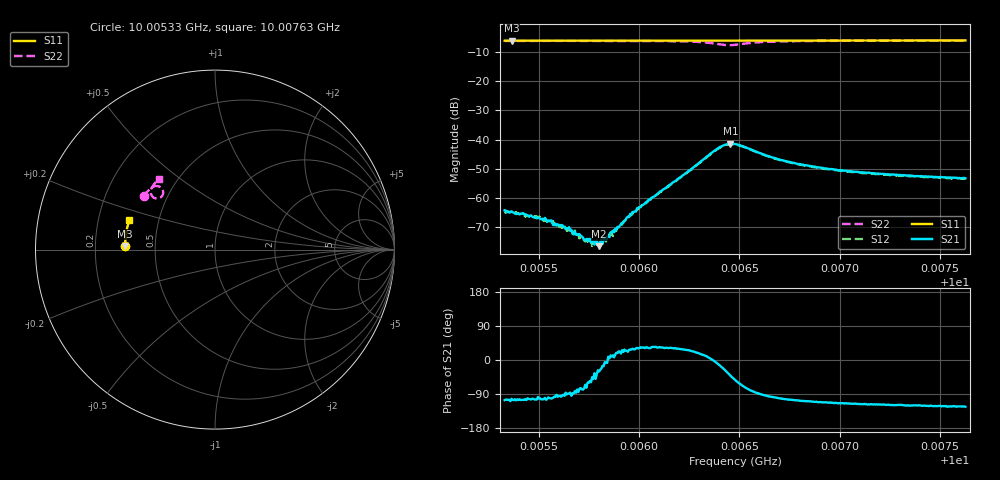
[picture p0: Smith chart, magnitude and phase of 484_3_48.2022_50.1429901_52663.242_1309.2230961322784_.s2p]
#  HZ  S  RI  R  50.00
! Rohde & Schwarz Vector Network Analyzer
! Rohde-Schwarz,ZNB20-2Port,1311601062101988,3.16
! Created: UTC 3/20/2024, 11:57:47 AM
! freq[Hz]  re:S11  im:S11  re:S21  im:S21  re:S12  im:S12  re:S22  im:S22
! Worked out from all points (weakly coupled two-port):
!   401 points, 10.00533 GHz to 10.00763 GHz, reference 50 ohm
!   highest |S21| = -41.41 dB at 10.00646 GHz (marker M1); lowest = -76.6 dB at 10.0058 GHz (marker M2)
!   lowest |S11| = -6.0 dB at 10.00536 GHz (marker M3), VSWR 3.01, Z = 16.6 + j0.916 ohm
!   |S11| at or under -10 dB: nowhere
!   |S22| runs from -7.6 to -6.0 dB; largest |S21 - S12| = 0.00054
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1.0005329e10  -0.5005 0.0184  -0.000168 -0.000586  -0.000146 -0.000562  -0.3974 0.2965
1.0005363e10  -0.5003 0.0206  -0.000126 -0.000572  -9.33e-05 -0.000542  -0.396 0.2986
1.0005496e10  -0.5002 0.0293  -5.89e-05 -0.000455  -8.34e-05 -0.000447  -0.3905 0.3064
1.0005582e10  -0.5 0.035  -4.52e-05 -0.000357  -4.33e-05 -0.000366  -0.3866 0.3116
1.0005605e10  -0.4999 0.0364  -2.5e-05 -0.000335  -3.35e-05 -0.000313  -0.3855 0.3129
1.0005622e10  -0.4998 0.0375  -8.82e-06 -0.000314  2.39e-05 -0.000363  -0.3847 0.3139
1.0005714e10  -0.4996 0.0434  4.77e-05 -0.000211  5.2e-05 -0.000201  -0.3802 0.3195
1.000576e10  -0.4993 0.0465  8.72e-05 -0.000144  0.000105 -0.000163  -0.3778 0.3225
1.00058e10  -0.4993 0.0491  0.000127 -7.38e-05  0.000133 -6.68e-05  -0.3757 0.325
1.0005806e10  -0.4992 0.0496  0.000159 -7.72e-05  0.000151 -5.2e-05  -0.3751 0.3255
1.0005875e10  -0.4989 0.054  0.000253 3.17e-05  0.000268 7.62e-05  -0.3712 0.3298
1.0005909e10  -0.4987 0.0561  0.000329 0.000101  0.000339 0.000121  -0.3691 0.3319
1.0005955e10  -0.4984 0.0591  0.000466 0.000243  0.000436 0.000242  -0.366 0.3351
1.0006013e10  -0.498 0.0628  0.000619 0.000393  0.000609 0.000422  -0.3615 0.3388
1.0006099e10  -0.4976 0.0686  0.00102 0.000678  0.000964 0.000724  -0.3536 0.3451
1.0006386e10  -0.4946 0.0868  0.00674 -0.000878  0.00665 -0.000512  -0.291 0.3314
1.0006455e10  -0.4939 0.0908  0.00639 -0.0056  0.00654 -0.0051  -0.3017 0.2912
1.0006478e10  -0.4937 0.0922  0.00509 -0.00665  0.00535 -0.00624  -0.3151 0.2849
1.0006697e10  -0.4921 0.1062  -0.000853 -0.0045  -0.000641 -0.00445  -0.3576 0.3285
1.0006863e10  -0.4901 0.1168  -0.00118 -0.00326  -0.000986 -0.00323  -0.3503 0.3487
1.0007248e10  -0.4845 0.1411  -0.00121 -0.00221  -0.00106 -0.0022  -0.3301 0.3754
1.0007628e10  -0.4778 0.1646  -0.00119 -0.0018  -0.00105 -0.00186  -0.3105 0.3948
